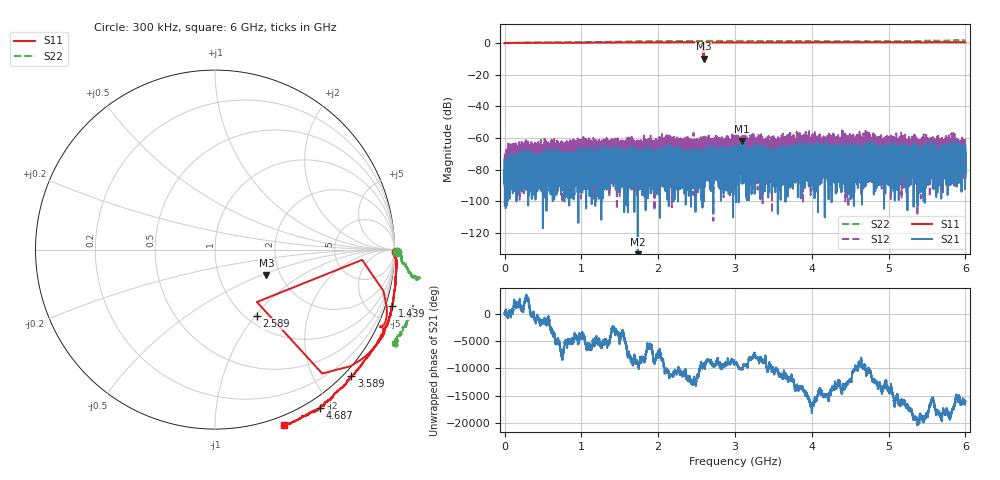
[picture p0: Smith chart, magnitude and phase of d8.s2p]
!Agilent Technologies,N5230C,SG49000117,A.08.50.07
!Agilent N5230C: A.08.50.07
!Date: Thursday, May 16, 2024 19:32:43
!Correction: S11(Full 2 Port(1,2))
!S21(Full 2 Port(1,2))
!S12(Full 2 Port(1,2))
!S22(Full 2 Port(1,2))
!S2P File: Measurements: S11, S21, S12, S22:
# Hz S  MA  R 50
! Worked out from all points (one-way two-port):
!   20001 points, 300 kHz to 6 GHz, reference 50 ohm
!   highest |S21| = -61.95 dB at 3.093 GHz (marker M1); lowest = -136.4 dB at 1.734 GHz (marker M2)
!   lowest |S11| = -9.9 dB at 2.59 GHz (marker M3), VSWR 1.94, Z = 84.7 - j26.9 ohm
!   |S11| at or under -10 dB: nowhere
!   |S22| runs from -0.3 to 1.6 dB; largest |S21 - S12| = 0.002
!   S11 on the Smith chart (normalised r, x): 300 kHz: open; 1.439 GHz: -0.72, -6.33; 2.589 GHz: 1.12, -1.01; 3.589 GHz: -0.13, -2.55; 4.687 GHz: -0.13, -1.86; 6 GHz: -0.08, -1.46
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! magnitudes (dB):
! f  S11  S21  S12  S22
! 300 kHz  0.1  -73.7  -72.7  0.1
! 30.9 MHz  0.0  -81.5  -68.5  0.0
! 287.1 MHz  0.1  -76.2  -72.4  0.2
! 1 GHz  0.2  -86.7  -77.9  0.5
! 1.439 GHz  0.3  -79.0  -78.7  0.8
! 1.734 GHz  0.4  -136.4  -63.8  1.0
! 2 GHz  0.4  -72.8  -64.6  1.1
! 2.139 GHz  0.4  -70.1  -62.2  1.2
! 2.589 GHz  -7.2  -76.1  -66.9  1.3
! 2.59 GHz  -9.9  -73.5  -74.0  1.3
! 3 GHz  0.3  -76.8  -66.9  1.3
! 3.093 GHz  0.3  -62.0  -67.8  1.3
! 3.174 GHz  0.3  -72.1  -62.2  1.3
! 3.589 GHz  0.3  -77.1  -70.5  1.2
! 4 GHz  0.4  -71.9  -63.3  1.2
! 4.687 GHz  0.5  -79.2  -71.4  1.1
! 5 GHz  0.5  -67.2  -60.3  1.2
! 5.266 GHz  0.4  -85.7  -69.3  1.3
! 5.335 GHz  0.5  -74.3  -67.8  1.3
! 5.848 GHz  0.5  -68.2  -69.2  1.5
! 5.935 GHz  0.5  -71.7  -69.1  1.5
! 6 GHz  0.5  -82.2  -65.2  1.5
